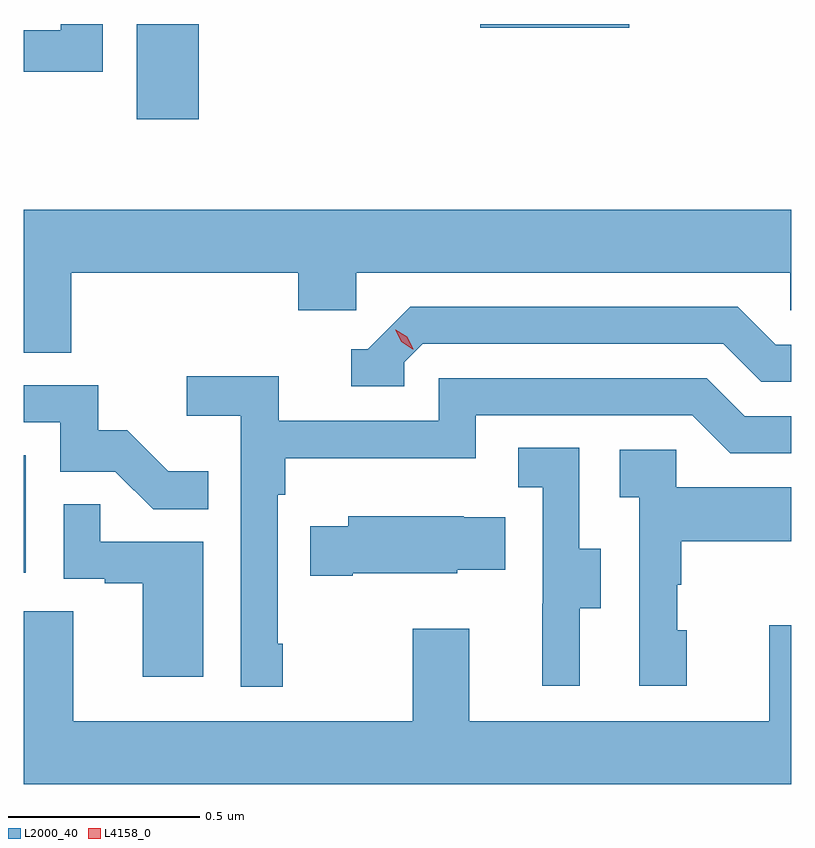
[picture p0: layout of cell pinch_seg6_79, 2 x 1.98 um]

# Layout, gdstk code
import gdstk
lib = gdstk.Library(unit=1e-6, precision=1e-09)
def R(c, l, rs):  # rectangles x0, y0, x1, y1
    for r in rs: c.add(gdstk.rectangle(r[:2], r[2:], *l))
def P(c, l, *ps):  # polygons
    for p in ps: c.add(gdstk.Polygon(p, *l))
L2000_40 = (2000, 40)
L4158_0 = (4158, 0)

pinch_seg6_79 = lib.new_cell('pinch_seg6_79')
R(pinch_seg6_79, L2000_40, [(925.162,931.902,925.168,932.209), (925.457,933.084,925.618,933.332), (926.352,933.322,926.74,933.332)])
P(pinch_seg6_79, L2000_40, [(925.368,933.332),(925.259,933.332),(925.259,933.316),(925.162,933.316),(925.162,933.207),(925.368,933.207)],
  [(925.286,932.684),(925.877,932.684),(925.877,932.586),(926.028,932.586),(926.028,932.684),(927.159,932.684),(927.159,932.586),(927.162,932.586),(927.162,932.848),(925.162,932.848),(925.162,932.476),(925.286,932.476)],
  [(926.154,932.451),(926.202,932.499),(926.985,932.499),(927.084,932.4),(927.162,932.4),(927.162,932.496),(927.121,932.496),(927.022,932.595),(926.169,932.595),(926.058,932.484),(926.015,932.484),(926.015,932.388),(926.154,932.388)],
  [(925.837,931.717),(925.824,931.717),(925.824,932.105),(925.844,932.105),(925.844,932.201),(926.34,932.201),(926.34,932.313),(926.904,932.313),(927.003,932.214),(927.162,932.214),(927.162,932.31),(927.04,932.31),(926.941,932.409),(926.244,932.409),(926.244,932.298),(925.826,932.298),(925.826,932.414),(925.587,932.414),(925.587,932.312),(925.728,932.312),(925.728,931.605),(925.837,931.605)],
  [(925.643,932.167),(925.539,932.167),(925.432,932.274),(925.356,932.274),(925.356,932.391),(925.162,932.391),(925.162,932.295),(925.257,932.295),(925.257,932.166),(925.401,932.166),(925.499,932.068),(925.643,932.068)],
  [(926.611,931.81),(926.665,931.81),(926.665,931.965),(926.61,931.965),(926.61,932.228),(926.451,932.228),(926.451,932.125),(926.514,932.125),(926.514,931.821),(926.513,931.821),(926.513,931.608),(926.611,931.608)],
  [(926.89,931.752),(926.865,931.752),(926.865,931.871),(926.875,931.871),(926.875,931.985),(927.162,931.985),(927.162,932.125),(926.862,932.125),(926.862,932.223),(926.715,932.223),(926.715,932.099),(926.766,932.099),(926.766,931.608),(926.89,931.608)],
  [(925.63,931.983),(925.361,931.983),(925.361,932.081),(925.266,932.081),(925.266,931.887),(925.373,931.887),(925.373,931.875),(925.472,931.875),(925.472,931.632),(925.63,931.632)],
  [(926.02,931.901),(926.292,931.901),(926.292,931.91),(926.417,931.91),(926.417,932.047),(926.309,932.047),(926.309,932.05),(926.007,932.05),(926.007,932.023),(925.909,932.023),(925.909,931.894),(926.02,931.894)],
  [(927.162,931.765),(927.104,931.765),(927.104,931.516),(926.323,931.516),(926.323,931.756),(926.176,931.756),(926.176,931.516),(925.291,931.516),(925.291,931.802),(925.162,931.802),(925.162,931.352),(927.162,931.352)])
P(pinch_seg6_79, L4158_0, [(926.176,932.484),(926.146,932.504),(926.13,932.536),(926.13,932.536),(926.131,932.536),(926.161,932.517),(926.177,932.484),(926.177,932.484)])

lib.write_gds('pinch_seg6_79.gds')
